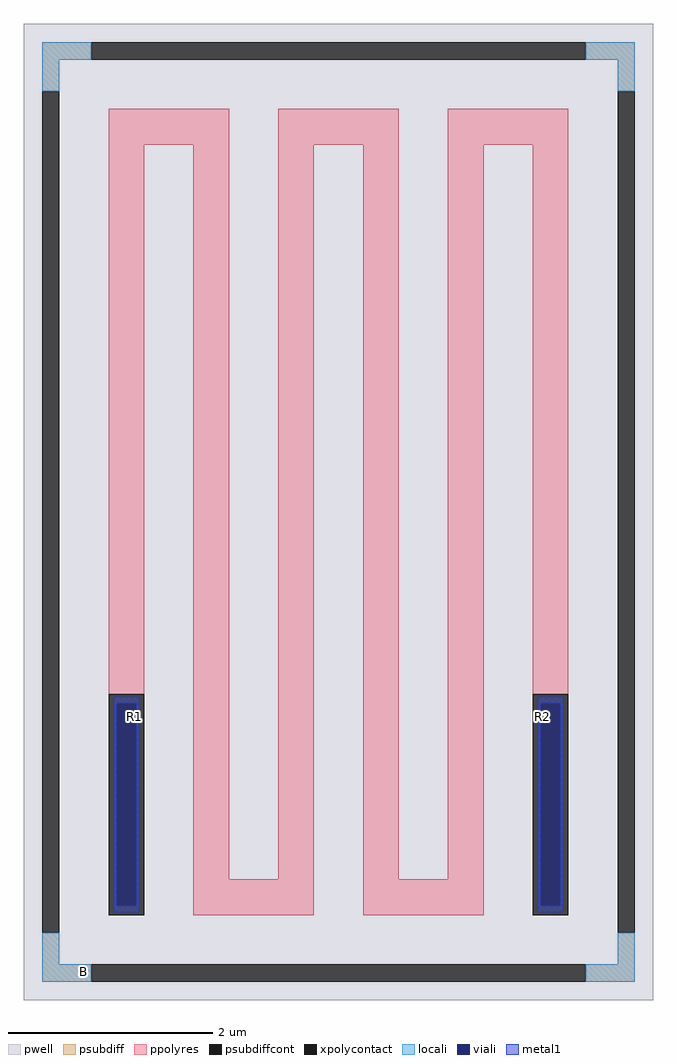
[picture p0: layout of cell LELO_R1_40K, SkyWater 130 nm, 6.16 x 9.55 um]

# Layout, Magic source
magic
tech sky130A
magscale 1 2
<< pwell >>
rect -616 -955 616 955
<< psubdiff >>
rect -580 885 -484 919
rect 484 885 580 919
rect -580 823 -546 885
rect 546 823 580 885
rect -580 -885 -546 -823
rect 546 -885 580 -823
rect -580 -919 -484 -885
rect 484 -919 580 -885
<< psubdiffcont >>
rect -484 885 484 919
rect -580 -823 -546 823
rect 546 -823 580 823
rect -484 -919 484 -885
<< xpolycontact >>
rect -450 -789 -380 -357
rect 380 -789 450 -357
<< ppolyres >>
rect -450 719 -214 789
rect -450 -357 -380 719
rect -284 -719 -214 719
rect -118 719 118 789
rect -118 -719 -48 719
rect -284 -789 -48 -719
rect 48 -719 118 719
rect 214 719 450 789
rect 214 -719 284 719
rect 48 -789 284 -719
rect 380 -357 450 719
<< locali >>
rect -580 885 -484 919
rect 484 885 580 919
rect -580 823 -546 885
rect 546 823 580 885
rect -580 -885 -546 -823
rect 546 -885 580 -823
rect -580 -919 -484 -885
rect 484 -919 580 -885
<< viali >>
rect -434 -771 -396 -374
rect 396 -771 434 -374
<< metal1 >>
rect -440 -374 -390 -362
rect -440 -771 -434 -374
rect -396 -771 -390 -374
rect -440 -783 -390 -771
rect 390 -374 440 -362
rect 390 -771 396 -374
rect 434 -771 440 -374
rect 390 -783 440 -771
<< labels >>
flabel xpolycontact s -400 -400 -400 -400 0 FreeSans 200 0 0 0 R1
port 1 nsew signal bidirectional
flabel xpolycontact s 400 -400 400 -400 0 FreeSans 200 0 0 0 R2
port 2 nsew signal bidirectional
flabel locali s -500 -900 -500 -900 0 FreeSans 200 0 0 0 B
port 3 nsew signal bidirectional
<< properties >>
string FIXED_BBOX -563 -902 563 902
<< end >>
